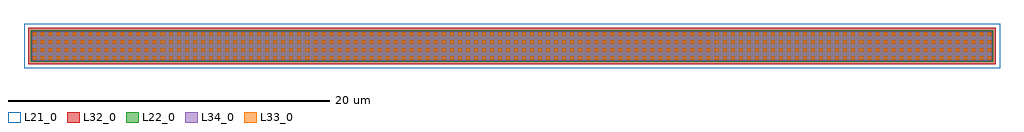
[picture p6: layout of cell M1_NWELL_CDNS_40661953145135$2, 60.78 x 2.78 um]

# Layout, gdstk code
import gdstk
lib = gdstk.Library(unit=1e-6, precision=1e-09)
def R(c, l, rs):  # rectangles x0, y0, x1, y1
    for r in rs: c.add(gdstk.rectangle(r[:2], r[2:], *l))
def A(c, l, x, y, w, h, nx, ny, dx, dy):  # array of equal rectangles
    R(c, l, [(x+i*dx, y+j*dy, x+i*dx+w, y+j*dy+h) for i in range(nx) for j in range(ny)])
L21_0 = (21, 0)
L22_0 = (22, 0)
L32_0 = (32, 0)
L33_0 = (33, 0)
L34_0 = (34, 0)

m1_nwell_cdns_4066195314 = lib.new_cell('M1_NWELL_CDNS_40661953145135$2')
R(m1_nwell_cdns_4066195314, L21_0, [(-30.39,-1.39,30.39,1.39)])
R(m1_nwell_cdns_4066195314, L22_0, [(-29.975,-0.975,29.975,0.975)])
R(m1_nwell_cdns_4066195314, L32_0, [(-30.135,-1.135,30.135,1.135)])
A(m1_nwell_cdns_4066195314, L33_0, -29.86, -0.86, 0.22, 0.22, 120, 4, 0.5, 0.5)
R(m1_nwell_cdns_4066195314, L34_0, [(-29.92,-0.92,29.92,0.92)])

lib.write_gds('M1_NWELL_CDNS_40661953145135_2.gds')
